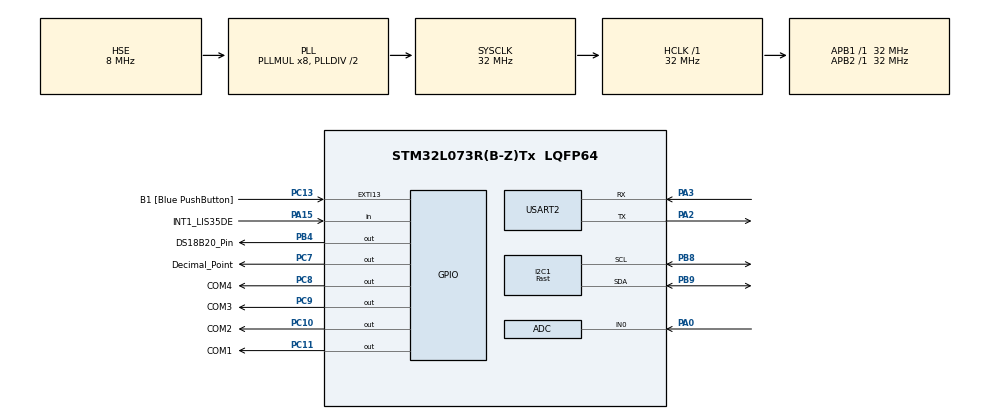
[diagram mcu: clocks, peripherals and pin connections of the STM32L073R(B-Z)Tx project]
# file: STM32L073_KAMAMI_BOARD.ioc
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ADC.ContinuousConvMode=DISABLE
I2C1.I2C_Speed_Mode=I2C_Fast
I2C1.Timing=0x0060112F
Mcu.Family=STM32L0
Mcu.Name=STM32L073R(B-Z)Tx
Mcu.Package=LQFP64
Mcu.UserConstants=T2_PRE,23999;T2_CNT,999
NVIC.ADC1_COMP_IRQn=true\:0\:0\:false\:false\:true\:true\:true\:true
NVIC.TIM6_DAC_IRQn=true\:0\:0\:false\:false\:true\:true\:true\:true
NVIC.USART2_IRQn=true\:0\:0\:false\:false\:true\:true\:true\:true
PA0.Mode=IN0
PA0.Signal=ADC_IN0
PA13.GPIO_Label=TMS
PA13.Mode=Serial_Wire
PA13.Signal=SYS_SWDIO
PA14.GPIO_Label=TCK
PA14.Mode=Serial_Wire
PA14.Signal=SYS_SWCLK
PA15.GPIO_Label=INT1_LIS35DE
PA15.Signal=GPIO_Input
PA2.Mode=Asynchronous
PA2.Signal=USART2_TX
PA3.Mode=Asynchronous
PA3.Signal=USART2_RX
PB4.GPIO_Label=DS18B20_Pin
PB4.Signal=GPIO_Output
PB8.Mode=I2C
PB8.Signal=I2C1_SCL
PB9.Mode=I2C
PB9.Signal=I2C1_SDA
PC10.GPIO_Label=COM2
PC10.Signal=GPIO_Output
PC11.GPIO_Label=COM1
PC11.Signal=GPIO_Output
PC13.GPIO_Label=B1 [Blue PushButton]
PC13.GPIO_ModeDefaultEXTI=GPIO_MODE_IT_FALLING
PC13.Signal=GPXTI13
PC14-OSC32_IN.Mode=LSE-External-Oscillator
PC14-OSC32_IN.Signal=RCC_OSC32_IN
PC15-OSC32_OUT.Mode=LSE-External-Oscillator
PC15-OSC32_OUT.Signal=RCC_OSC32_OUT
PC7.GPIO_Label=Decimal_Point
PC7.Signal=GPIO_Output
PC8.GPIO_Label=COM4
PC8.Signal=GPIO_Output
PC9.GPIO_Label=COM3
PC9.Signal=GPIO_Output
PH0-OSC_IN.GPIO_Label=MCO
PH0-OSC_IN.Mode=HSE-External-Clock-Source
PH0-OSC_IN.Signal=RCC_OSC_IN
ProjectManager.HeapSize=0x200
ProjectManager.StackSize=0x400
ProjectManager.TargetToolchain=MDK-ARM V5.32
RCC.AHBFreq_Value=32000000
RCC.APB1Freq_Value=32000000
RCC.APB1TimFreq_Value=32000000
RCC.APB2Freq_Value=32000000
RCC.APB2TimFreq_Value=32000000
RCC.HCLKFreq_Value=32000000
RCC.HSE_VALUE=8000000
RCC.HSI16_VALUE=16000000
RCC.HSI48_VALUE=48000000
RCC.HSI_VALUE=16000000
RCC.MSI_VALUE=2097000
RCC.PLLMUL=RCC_PLLMUL_8
RCC.PLLSourceVirtual=RCC_PLLSOURCE_HSE
RCC.SYSCLKFreq_VALUE=32000000
RCC.SYSCLKSource=RCC_SYSCLKSOURCE_PLLCLK
RCC.VCOOutputFreq_Value=64000000
TIM2.Period=T2_CNT
TIM2.Prescaler=T2_PRE
TIM6.AutoReloadPreload=TIM_AUTORELOAD_PRELOAD_ENABLE
TIM6.Period=99
TIM6.Prescaler=31
USART2.VirtualMode-Asynchronous=VM_ASYNC
VP_TIM2_VS_ClockSourceINT.Mode=Internal
VP_TIM6_VS_ClockSourceINT.Mode=Enable_Timer
board=NUCLEO-L073RZ

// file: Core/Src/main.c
/* USER CODE BEGIN Header */
/**
  ******************************************************************************
  * @file           : main.c
  * @brief          : Main program body
  ******************************************************************************
  * @attention
  *
  * Copyright (c) 2026 STMicroelectronics.
  * All rights reserved.
  *
  * This software is licensed under terms that can be found in the LICENSE file
  * in the root directory of this software component.
  * If no LICENSE file comes with this software, it is provided AS-IS.
  *
  ******************************************************************************
  */
/* USER CODE END Header */
#include "main.h"

/* USER CODE BEGIN Includes */
#include "fonts.h"
#include "ssd1306.h"
#include "ekranas.h"
#include "stdio.h"
#include <math.h>
#include <string.h>
/* USER CODE END Includes */

ADC_HandleTypeDef hadc;

I2C_HandleTypeDef hi2c1;

TIM_HandleTypeDef htim2;
TIM_HandleTypeDef htim6;

UART_HandleTypeDef huart2;

/* USER CODE BEGIN PV */

volatile float a =0, b=0, c=0, kvadsum = 0, RMS=0, RMSUART = 0, suma=0, sumauart = 0;
int i=0, iuart = 0, dispflag = 0, clipping = 0, gain = 1, gainflag = 0;
int stop = 0;

char msg[50];

volatile int Vout_flag = 0;
volatile int RMS_flag = 0;
volatile int RMSUART_flag = 0;
volatile int mygtuko_flag = 0;

volatile uint8_t uart_busy = 0;

/* USER CODE END PV */

void SystemClock_Config(void);
static void MX_GPIO_Init(void);
static void MX_TIM2_Init(void);
static void MX_TIM6_Init(void);
static void MX_I2C1_Init(void);
static void MX_ADC_Init(void);
static void MX_USART2_UART_Init(void);

/* USER CODE BEGIN 0 */

void uart_send(char *msg)
{
    {
			  if (uart_busy) return;

        uart_busy = 1;
        HAL_UART_Transmit_IT(&huart2, (uint8_t*)msg, strlen(msg));
    }
}

void HAL_UART_TxCpltCallback(UART_HandleTypeDef *huart)
{
    if (huart->Instance == USART2)
    {
        uart_busy = 0;
    }
}

void HAL_TIM_PeriodElapsedCallback(TIM_HandleTypeDef *htim)
{
    if (htim == &htim6)
    {
        HAL_ADC_Start_IT(&hadc);
    }
}

void HAL_ADC_ConvCpltCallback(ADC_HandleTypeDef *hadc1)
{
     if (hadc1 ->Instance == ADC1)
    {

      b = HAL_ADC_GetValue(hadc1);
			a = ((b/4095)*3.3f);
			c = a-1.65;

			kvadsum = c*c;

			suma += kvadsum;
			i++;

			sumauart +=kvadsum;
			iuart++;

			if(iuart == 5000){
			RMSUART_flag = 1;
					if(HAL_GPIO_ReadPin(B1_GPIO_Port, B1_Pin) == GPIO_PIN_RESET ){
					mygtuko_flag =1;
					}
			}

			if (i==10000){
			RMS_flag = 1;
			}

			////////////////////////////////////////////////////////////////////////////////

			Vout_flag = 1;

		}
}

//void ekranas(){
//	ssd1306_Init(&hi2c1);
//  // Write data to local screenbuffer
//	ssd1306_SetCursor(0,0);
//	ssd1306_WriteString("nigga",Font_11x18, White);
//
//	ssd1306_SetCursor(50, 26);
//	sprintf(string_display,"T0= %d ",a);
//  ssd1306_WriteString(string_display,Font_11x18, White);
//
//	ssd1306_SetCursor(0, 44);
//  ssd1306_WriteString("nigga",Font_11x18, White);
//
//  // Copy all data from local screenbuffer to the screen
//   ssd1306_UpdateScreen(&hi2c1);
//}

/* USER CODE END 0 */

int main(void)
{

  /* MCU Configuration--------------------------------------------------------*/

  /* Reset of all peripherals, Initializes the Flash interface and the Systick. */
  HAL_Init();

  /* Configure the system clock */
  SystemClock_Config();

  /* Initialize all configured peripherals */
  MX_GPIO_Init();
  MX_TIM2_Init();
  MX_TIM6_Init();
  MX_I2C1_Init();
  MX_ADC_Init();
  MX_USART2_UART_Init();
  /* USER CODE BEGIN 2 */
	ssd1306_Init(&hi2c1);
	izanga();
	HAL_ADCEx_Calibration_Start(&hadc, ADC_SINGLE_ENDED);

	HAL_ADC_Start_IT(&hadc);
	HAL_TIM_Base_Start_IT(&htim6);

	sprintf(msg, "helau\r\n");
	HAL_UART_Transmit_IT(&huart2, (uint8_t*)msg, strlen(msg));

  /* Infinite loop */
  /* USER CODE BEGIN WHILE */
  while (1)
  {

		////////////////////////////////////////////////////////////////////////////////

			if (Vout_flag){
				Vout_flag = 0;

				if(i % 1000 ==0 && dispflag==2 && clipping == 0){
				Vout();
				}

				if((b>4080 || b<30) && i%100==0){
					CLIP();
					clipping = 1;
				}

				if (clipping == 1 && i%100==0){
					CLIP();
					clipping = 0;
				}

			}

		////////////////////////////////////////////////////////////////////////////////

			if(RMSUART_flag){
				RMSUART_flag =0;

				RMSUART = (sqrtf(sumauart/iuart))*gain;

				sprintf(msg, "RMS = %.3f\r\n", RMSUART);
				uart_send(msg);

				iuart = 0;
			  sumauart = 0;

			}

		////////////////////////////////////////////////////////////////////////////////

			if (RMS_flag){

			RMS_flag = 0;

			RMS = (sqrtf(suma/i))*gain;

			TRMS();

			i = 0;
			suma = 0;

			}

		////////////////////////////////////////////////////////////////////////////////

		if(mygtuko_flag){
					mygtuko_flag =0;

					if(gainflag == 0 && gain ==1){
					gainflag = 1;
					stop = 0;

					}
					if(gainflag == 1 && gain ==15){
					gainflag = 0;
					stop = 0;
					}

					if(gainflag == 0){
					gain = 1;
					}
					if(gainflag == 1){
					gain = 15;
					}
			}

		////////////////////////////////////////////////////////////////////////////////

    /* USER CODE END WHILE */

  }
}

void SystemClock_Config(void)
{
  RCC_OscInitTypeDef RCC_OscInitStruct = {0};
  RCC_ClkInitTypeDef RCC_ClkInitStruct = {0};
  RCC_PeriphCLKInitTypeDef PeriphClkInit = {0};

  /** Configure the main internal regulator output voltage
  */
  __HAL_PWR_VOLTAGESCALING_CONFIG(PWR_REGULATOR_VOLTAGE_SCALE1);

  /** Initializes the RCC Oscillators according to the specified parameters
  * in the RCC_OscInitTypeDef structure.
  */
  RCC_OscInitStruct.OscillatorType = RCC_OSCILLATORTYPE_HSE;
  RCC_OscInitStruct.HSEState = RCC_HSE_BYPASS;
  RCC_OscInitStruct.PLL.PLLState = RCC_PLL_ON;
  RCC_OscInitStruct.PLL.PLLSource = RCC_PLLSOURCE_HSE;
  RCC_OscInitStruct.PLL.PLLMUL = RCC_PLLMUL_8;
  RCC_OscInitStruct.PLL.PLLDIV = RCC_PLLDIV_2;
  if (HAL_RCC_OscConfig(&RCC_OscInitStruct) != HAL_OK)
  {
    Error_Handler();
  }

  /** Initializes the CPU, AHB and APB buses clocks
  */
  RCC_ClkInitStruct.ClockType = RCC_CLOCKTYPE_HCLK|RCC_CLOCKTYPE_SYSCLK
                              |RCC_CLOCKTYPE_PCLK1|RCC_CLOCKTYPE_PCLK2;
  RCC_ClkInitStruct.SYSCLKSource = RCC_SYSCLKSOURCE_PLLCLK;
  RCC_ClkInitStruct.AHBCLKDivider = RCC_SYSCLK_DIV1;
  RCC_ClkInitStruct.APB1CLKDivider = RCC_HCLK_DIV1;
  RCC_ClkInitStruct.APB2CLKDivider = RCC_HCLK_DIV1;

  if (HAL_RCC_ClockConfig(&RCC_ClkInitStruct, FLASH_LATENCY_1) != HAL_OK)
  {
    Error_Handler();
  }
  PeriphClkInit.PeriphClockSelection = RCC_PERIPHCLK_USART2|RCC_PERIPHCLK_I2C1;
  PeriphClkInit.Usart2ClockSelection = RCC_USART2CLKSOURCE_PCLK1;
  PeriphClkInit.I2c1ClockSelection = RCC_I2C1CLKSOURCE_PCLK1;
  if (HAL_RCCEx_PeriphCLKConfig(&PeriphClkInit) != HAL_OK)
  {
    Error_Handler();
  }
}

static void MX_ADC_Init(void)
{

  ADC_ChannelConfTypeDef sConfig = {0};

  /** Configure the global features of the ADC (Clock, Resolution, Data Alignment and number of conversion)
  */
  hadc.Instance = ADC1;
  hadc.Init.OversamplingMode = DISABLE;
  hadc.Init.ClockPrescaler = ADC_CLOCK_SYNC_PCLK_DIV2;
  hadc.Init.Resolution = ADC_RESOLUTION_12B;
  hadc.Init.SamplingTime = ADC_SAMPLETIME_1CYCLE_5;
  hadc.Init.ScanConvMode = ADC_SCAN_DIRECTION_FORWARD;
  hadc.Init.DataAlign = ADC_DATAALIGN_RIGHT;
  hadc.Init.ContinuousConvMode = DISABLE;
  hadc.Init.DiscontinuousConvMode = DISABLE;
  hadc.Init.ExternalTrigConvEdge = ADC_EXTERNALTRIGCONVEDGE_NONE;
  hadc.Init.ExternalTrigConv = ADC_SOFTWARE_START;
  hadc.Init.DMAContinuousRequests = DISABLE;
  hadc.Init.EOCSelection = ADC_EOC_SINGLE_CONV;
  hadc.Init.Overrun = ADC_OVR_DATA_PRESERVED;
  hadc.Init.LowPowerAutoWait = DISABLE;
  hadc.Init.LowPowerFrequencyMode = DISABLE;
  hadc.Init.LowPowerAutoPowerOff = DISABLE;
  if (HAL_ADC_Init(&hadc) != HAL_OK)
  {
    Error_Handler();
  }

  /** Configure for the selected ADC regular channel to be converted.
  */
  sConfig.Channel = ADC_CHANNEL_0;
  sConfig.Rank = ADC_RANK_CHANNEL_NUMBER;
  if (HAL_ADC_ConfigChannel(&hadc, &sConfig) != HAL_OK)
  {
    Error_Handler();
  }

}

static void MX_I2C1_Init(void)
{

  hi2c1.Instance = I2C1;
  hi2c1.Init.Timing = 0x0060112F;
  hi2c1.Init.OwnAddress1 = 0;
  hi2c1.Init.AddressingMode = I2C_ADDRESSINGMODE_7BIT;
  hi2c1.Init.DualAddressMode = I2C_DUALADDRESS_DISABLE;
  hi2c1.Init.OwnAddress2 = 0;
  hi2c1.Init.OwnAddress2Masks = I2C_OA2_NOMASK;
  hi2c1.Init.GeneralCallMode = I2C_GENERALCALL_DISABLE;
  hi2c1.Init.NoStretchMode = I2C_NOSTRETCH_DISABLE;
  if (HAL_I2C_Init(&hi2c1) != HAL_OK)
  {
    Error_Handler();
  }

  /** Configure Analogue filter
  */
  if (HAL_I2CEx_ConfigAnalogFilter(&hi2c1, I2C_ANALOGFILTER_ENABLE) != HAL_OK)
  {
    Error_Handler();
  }

  /** Configure Digital filter
  */
  if (HAL_I2CEx_ConfigDigitalFilter(&hi2c1, 0) != HAL_OK)
  {
    Error_Handler();
  }

}

static void MX_TIM2_Init(void)
{

  TIM_ClockConfigTypeDef sClockSourceConfig = {0};
  TIM_MasterConfigTypeDef sMasterConfig = {0};

  htim2.Instance = TIM2;
  htim2.Init.Prescaler = T2_PRE;
  htim2.Init.CounterMode = TIM_COUNTERMODE_UP;
  htim2.Init.Period = T2_CNT;
  htim2.Init.ClockDivision = TIM_CLOCKDIVISION_DIV1;
  htim2.Init.AutoReloadPreload = TIM_AUTORELOAD_PRELOAD_DISABLE;
  if (HAL_TIM_Base_Init(&htim2) != HAL_OK)
  {
    Error_Handler();
  }
  sClockSourceConfig.ClockSource = TIM_CLOCKSOURCE_INTERNAL;
  if (HAL_TIM_ConfigClockSource(&htim2, &sClockSourceConfig) != HAL_OK)
  {
    Error_Handler();
  }
  sMasterConfig.MasterOutputTrigger = TIM_TRGO_RESET;
  sMasterConfig.MasterSlaveMode = TIM_MASTERSLAVEMODE_DISABLE;
  if (HAL_TIMEx_MasterConfigSynchronization(&htim2, &sMasterConfig) != HAL_OK)
  {
    Error_Handler();
  }

}

static void MX_TIM6_Init(void)
{

  TIM_MasterConfigTypeDef sMasterConfig = {0};

  htim6.Instance = TIM6;
  htim6.Init.Prescaler = 31;
  htim6.Init.CounterMode = TIM_COUNTERMODE_UP;
  htim6.Init.Period = 99;
  htim6.Init.AutoReloadPreload = TIM_AUTORELOAD_PRELOAD_ENABLE;
  if (HAL_TIM_Base_Init(&htim6) != HAL_OK)
  {
    Error_Handler();
  }
  sMasterConfig.MasterOutputTrigger = TIM_TRGO_RESET;
  sMasterConfig.MasterSlaveMode = TIM_MASTERSLAVEMODE_DISABLE;
  if (HAL_TIMEx_MasterConfigSynchronization(&htim6, &sMasterConfig) != HAL_OK)
  {
    Error_Handler();
  }

}

static void MX_USART2_UART_Init(void)
{

  huart2.Instance = USART2;
  huart2.Init.BaudRate = 115200;
  huart2.Init.WordLength = UART_WORDLENGTH_8B;
  huart2.Init.StopBits = UART_STOPBITS_1;
  huart2.Init.Parity = UART_PARITY_NONE;
  huart2.Init.Mode = UART_MODE_TX_RX;
  huart2.Init.HwFlowCtl = UART_HWCONTROL_NONE;
  huart2.Init.OverSampling = UART_OVERSAMPLING_16;
  huart2.Init.OneBitSampling = UART_ONE_BIT_SAMPLE_DISABLE;
  huart2.AdvancedInit.AdvFeatureInit = UART_ADVFEATURE_NO_INIT;
  if (HAL_UART_Init(&huart2) != HAL_OK)
  {
    Error_Handler();
  }

}

static void MX_GPIO_Init(void)
{
  GPIO_InitTypeDef GPIO_InitStruct = {0};

  /* GPIO Ports Clock Enable */
  __HAL_RCC_GPIOC_CLK_ENABLE();
  __HAL_RCC_GPIOH_CLK_ENABLE();
  __HAL_RCC_GPIOA_CLK_ENABLE();
  __HAL_RCC_GPIOB_CLK_ENABLE();

  /*Configure GPIO pin Output Level */
  HAL_GPIO_WritePin(GPIOC, Decimal_Point_Pin|COM4_Pin|COM3_Pin|COM2_Pin
                          |COM1_Pin, GPIO_PIN_RESET);

  /*Configure GPIO pin Output Level */
  HAL_GPIO_WritePin(DS18B20_Pin_GPIO_Port, DS18B20_Pin_Pin, GPIO_PIN_RESET);

  /*Configure GPIO pin : B1_Pin */
  GPIO_InitStruct.Pin = B1_Pin;
  GPIO_InitStruct.Mode = GPIO_MODE_IT_FALLING;
  GPIO_InitStruct.Pull = GPIO_NOPULL;
  HAL_GPIO_Init(B1_GPIO_Port, &GPIO_InitStruct);

  /*Configure GPIO pins : Decimal_Point_Pin COM4_Pin COM3_Pin COM2_Pin
                           COM1_Pin */
  GPIO_InitStruct.Pin = Decimal_Point_Pin|COM4_Pin|COM3_Pin|COM2_Pin
                          |COM1_Pin;
  GPIO_InitStruct.Mode = GPIO_MODE_OUTPUT_PP;
  GPIO_InitStruct.Pull = GPIO_NOPULL;
  GPIO_InitStruct.Speed = GPIO_SPEED_FREQ_LOW;
  HAL_GPIO_Init(GPIOC, &GPIO_InitStruct);

  /*Configure GPIO pin : INT1_LIS35DE_Pin */
  GPIO_InitStruct.Pin = INT1_LIS35DE_Pin;
  GPIO_InitStruct.Mode = GPIO_MODE_INPUT;
  GPIO_InitStruct.Pull = GPIO_NOPULL;
  HAL_GPIO_Init(INT1_LIS35DE_GPIO_Port, &GPIO_InitStruct);

  /*Configure GPIO pin : DS18B20_Pin_Pin */
  GPIO_InitStruct.Pin = DS18B20_Pin_Pin;
  GPIO_InitStruct.Mode = GPIO_MODE_OUTPUT_PP;
  GPIO_InitStruct.Pull = GPIO_NOPULL;
  GPIO_InitStruct.Speed = GPIO_SPEED_FREQ_LOW;
  HAL_GPIO_Init(DS18B20_Pin_GPIO_Port, &GPIO_InitStruct);

}

void Error_Handler(void)
{
  __disable_irq();
  while (1)
  {
  }
}
